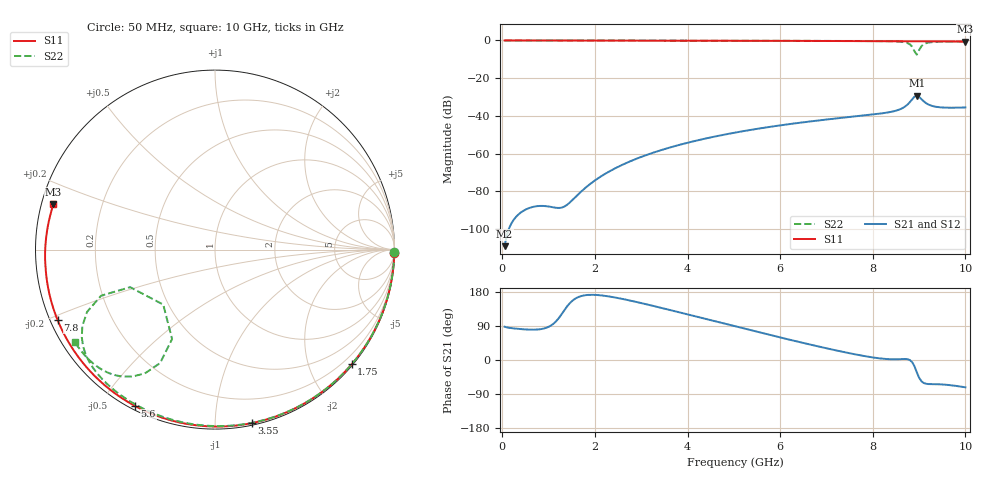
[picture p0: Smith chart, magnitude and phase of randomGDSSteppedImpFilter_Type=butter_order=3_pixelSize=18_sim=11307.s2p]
! freq	dB(S11)	phase(S11)	dB(S12)	phase(S12)
!  dB(S21)	phase(S21)	dB(S22)	phase(S22)
!S-par simulation data
#  GHz  S  DB  R 50
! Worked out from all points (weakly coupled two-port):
!   200 points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, 50 MHz to 10 GHz, reference 50 ohm
!   highest |S21| = -29.26 dB at 8.95 GHz (marker M1); lowest = -109.1 dB at 50 MHz (marker M2)
!   lowest |S11| = -0.6 dB at 10 GHz (marker M3), VSWR 29.80, Z = 1.71 + j6.84 ohm
!   |S11| at or under -10 dB: nowhere
!   |S22| runs from -7.5 to 0.0 dB; largest |S21 - S12| = 0
!   S11 on the Smith chart (normalised r, x): 50 MHz: open; 1.75 GHz: 0.02, -2.75; 3.55 GHz: 0.01, -1.23; 5.6 GHz: 0.01, -0.61; 7.8 GHz: 0.02, -0.21; 10 GHz: 0.03, +0.14
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0.05  -0.00 -1.1  -109.07 87.8  -109.07 87.8  -0.00 -0.8
0.85  -0.02 -19.7  -87.72 81.8  -87.72 81.8  -0.02 -14.8
1.7  -0.05 -38.9  -80.20 168.6  -80.20 168.6  -0.04 -29.3
1.75  -0.05 -40.0  -79.09 170.1  -79.09 170.1  -0.04 -30.1
2.45  -0.07 -55.2  -67.63 164.6  -67.63 164.6  -0.05 -41.8
3.4  -0.10 -75.1  -58.38 138.6  -58.38 138.6  -0.08 -57.3
3.55  -0.10 -78.1  -57.25 134.1  -57.25 134.1  -0.08 -59.7
5.05  -0.16 -107.0  -48.75 88.1  -48.75 88.1  -0.13 -82.8
5.6  -0.19 -117.1  -46.48 71.4  -46.48 71.4  -0.15 -91.0
6.7  -0.26 -136.6  -42.78 39.2  -42.78 39.2  -0.21 -107.2
7.8  -0.35 -155.8  -39.81 10.8  -39.81 10.8  -0.31 -123.8
8.35  -0.40 -165.4  -38.07 2.1  -38.07 2.1  -0.44 -134.3
8.65  -0.43 -170.8  -35.77 2.6  -35.77 2.6  -0.83 -144.1
8.8  -0.45 -173.4  -32.73 -0.0  -32.73 -0.0  -2.02 -154.0
8.85  -0.45 -174.3  -31.23 -5.5  -31.23 -5.5  -3.29 -158.0
8.9  -0.46 -175.2  -29.83 -16.4  -29.83 -16.4  -5.73 -156.1
8.95  -0.46 -176.1  -29.26 -32.0  -29.26 -32.0  -7.52 -133.3
9  -0.46 -177.0  -29.88 -46.7  -29.88 -46.7  -5.15 -115.6
9.05  -0.47 -177.9  -31.09 -56.0  -31.09 -56.0  -3.07 -115.8
9.15  -0.48 -179.8  -33.23 -62.7  -33.23 -62.7  -1.46 -123.2
9.45  -0.52 174.7  -35.45 -64.2  -35.45 -64.2  -0.67 -135.4
10  -0.58 164.4  -35.52 -72.1  -35.52 -72.1  -0.58 -146.6
